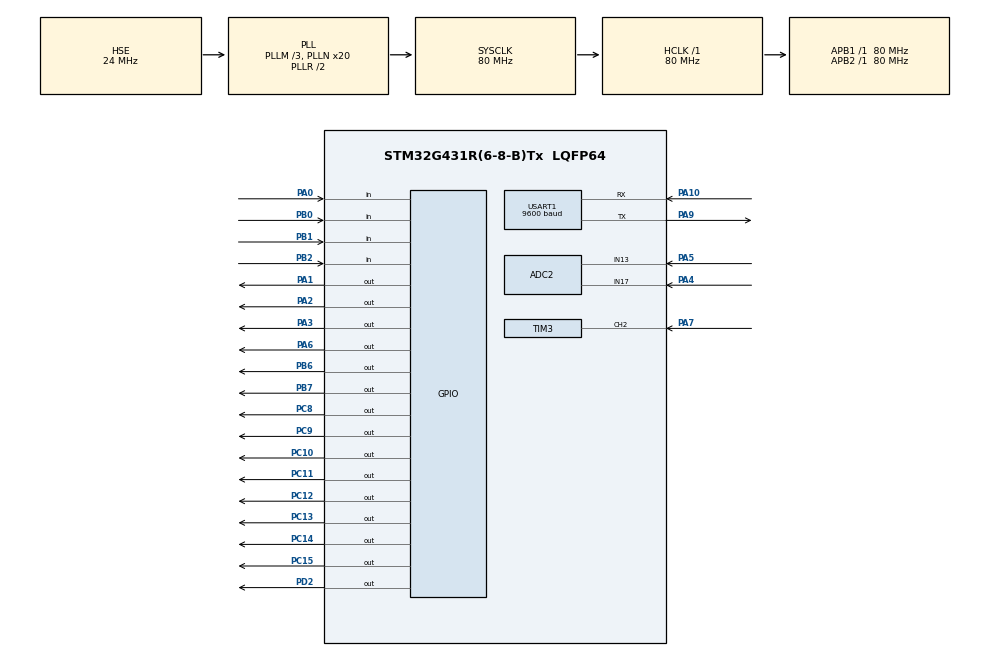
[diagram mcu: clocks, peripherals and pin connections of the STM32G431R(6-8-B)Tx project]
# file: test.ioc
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ADC2.Channel-0\#ChannelRegularConversion=ADC_CHANNEL_13
ADC2.Channel-3\#ChannelRegularConversion=ADC_CHANNEL_17
ADC2.NbrOfConversion=2
ADC2.NbrOfConversionFlag=1
ADC2.OffsetNumber-0\#ChannelRegularConversion=ADC_OFFSET_NONE
ADC2.OffsetNumber-3\#ChannelRegularConversion=ADC_OFFSET_NONE
ADC2.Rank-0\#ChannelRegularConversion=1
ADC2.Rank-3\#ChannelRegularConversion=2
ADC2.SamplingTime-0\#ChannelRegularConversion=ADC_SAMPLETIME_640CYCLES_5
ADC2.SamplingTime-3\#ChannelRegularConversion=ADC_SAMPLETIME_640CYCLES_5
Mcu.Family=STM32G4
Mcu.Name=STM32G431R(6-8-B)Tx
Mcu.Package=LQFP64
NVIC.PriorityGroup=NVIC_PRIORITYGROUP_4
NVIC.TIM1_BRK_TIM15_IRQn=true\:0\:0\:false\:false\:true\:true\:true
NVIC.TIM1_TRG_COM_TIM17_IRQn=true\:0\:0\:false\:false\:true\:true\:true
NVIC.TIM1_UP_TIM16_IRQn=true\:0\:0\:false\:false\:true\:true\:true
NVIC.TIM3_IRQn=true\:0\:0\:false\:false\:true\:true\:true
NVIC.TIM4_IRQn=true\:0\:0\:false\:false\:true\:true\:true
NVIC.USART1_IRQn=true\:0\:0\:false\:false\:true\:true\:true
PA0.GPIO_PuPd=GPIO_PULLUP
PA0.Signal=GPIO_Input
PA1.Signal=GPIO_Output
PA10.Mode=Asynchronous
PA10.Signal=USART1_RX
PA13.Mode=Serial_Wire
PA13.Signal=SYS_JTMS-SWDIO
PA14.Mode=Serial_Wire
PA14.Signal=SYS_JTCK-SWCLK
PA2.Signal=GPIO_Output
PA3.Signal=GPIO_Output
PA4.Mode=IN17-Single-Ended
PA4.Signal=ADC2_IN17
PA5.Mode=IN13-Single-Ended
PA5.Signal=ADC2_IN13
PA6.Signal=GPIO_Output
PA7.Signal=S_TIM3_CH2
PA9.Mode=Asynchronous
PA9.Signal=USART1_TX
PB0.GPIO_PuPd=GPIO_PULLUP
PB0.Signal=GPIO_Input
PB1.GPIO_PuPd=GPIO_PULLUP
PB1.Signal=GPIO_Input
PB2.GPIO_PuPd=GPIO_PULLUP
PB2.Signal=GPIO_Input
PB6.Signal=GPIO_Output
PB7.GPIO_Speed=GPIO_SPEED_FREQ_HIGH
PB7.Signal=GPIO_Output
PC10.PinState=GPIO_PIN_SET
PC10.Signal=GPIO_Output
PC11.PinState=GPIO_PIN_SET
PC11.Signal=GPIO_Output
PC12.PinState=GPIO_PIN_SET
PC12.Signal=GPIO_Output
PC13.PinState=GPIO_PIN_SET
PC13.Signal=GPIO_Output
PC14-OSC32_IN.PinState=GPIO_PIN_SET
PC14-OSC32_IN.Signal=GPIO_Output
PC15-OSC32_OUT.PinState=GPIO_PIN_SET
PC15-OSC32_OUT.Signal=GPIO_Output
PC8.PinState=GPIO_PIN_SET
PC8.Signal=GPIO_Output
PC9.PinState=GPIO_PIN_SET
PC9.Signal=GPIO_Output
PD2.Signal=GPIO_Output
PF0-OSC_IN.Mode=HSE-External-Oscillator
PF0-OSC_IN.Signal=RCC_OSC_IN
PF1-OSC_OUT.Mode=HSE-External-Oscillator
PF1-OSC_OUT.Signal=RCC_OSC_OUT
ProjectManager.HeapSize=0x200
ProjectManager.StackSize=0x400
ProjectManager.TargetToolchain=MDK-ARM V5.32
RCC.ADC12Freq_Value=80000000
RCC.AHBFreq_Value=80000000
RCC.APB1Freq_Value=80000000
RCC.APB1TimFreq_Value=80000000
RCC.APB2Freq_Value=80000000
RCC.APB2TimFreq_Value=80000000
RCC.CortexFreq_Value=80000000
RCC.EXTERNAL_CLOCK_VALUE=12288000
RCC.HCLKFreq_Value=80000000
RCC.HSE_VALUE=24000000
RCC.HSI48_VALUE=48000000
RCC.HSI_VALUE=16000000
RCC.LSE_VALUE=32768
RCC.PLLM=RCC_PLLM_DIV3
RCC.PLLN=20
RCC.PLLSourceVirtual=RCC_PLLSOURCE_HSE
RCC.RTCClockSelection=RCC_RTCCLKSOURCE_HSE_DIV32
RCC.SYSCLKFreq_VALUE=80000000
RCC.SYSCLKSource=RCC_SYSCLKSOURCE_PLLCLK
RCC.USBFreq_Value=80000000
RCC.VCOOutputFreq_Value=160000000
RTC.AsynchPrediv=125
RTC.Hours=23
RTC.Minutes=59
RTC.Month=RTC_MONTH_MARCH
RTC.Seconds=55
RTC.SynchPrediv=6000
RTC.WeekDay=RTC_WEEKDAY_FRIDAY
RTC.Year=24
SH.S_TIM3_CH2.0=TIM3_CH2,Input_Capture2_from_TI2
TIM15.Prescaler=80-1
TIM16.PeriodNoDither=65535
TIM16.Prescaler=80-1
TIM17.PeriodNoDither=65535
TIM17.Prescaler=80-1
TIM2.Prescaler=8000-1
TIM3.Channel-Input_Capture2_from_TI2=TIM_CHANNEL_2
TIM3.ICPolarity_CH2=TIM_INPUTCHANNELPOLARITY_BOTHEDGE
TIM3.Prescaler=80-1
TIM4.PeriodNoDither=10000-1
TIM4.Prescaler=80-1
USART1.BaudRate=9600
USART1.VirtualMode-Asynchronous=VM_ASYNC
VP_RTC_VS_RTC_Activate.Mode=RTC_Enabled
VP_RTC_VS_RTC_Calendar.Mode=RTC_Calendar
VP_SYS_VS_DBSignals.Mode=DisableDeadBatterySignals
VP_TIM15_VS_ClockSourceINT.Mode=Internal
VP_TIM16_VS_ClockSourceINT.Mode=Enable_Timer
VP_TIM17_VS_ClockSourceINT.Mode=Enable_Timer
VP_TIM2_VS_ClockSourceINT.Mode=Internal
VP_TIM3_VS_ClockSourceINT.Mode=Internal
VP_TIM4_VS_ClockSourceINT.Mode=Internal
board=custom

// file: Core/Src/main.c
/* USER CODE BEGIN Header */
/**
 ******************************************************************************
 * @file           : main.c
 * @brief          : Main program body
 ******************************************************************************
 * @attention
 *
 * Copyright (c) 2024 STMicroelectronics.
 * All rights reserved.
 *
 * This software is licensed under terms that can be found in the LICENSE file
 * in the root directory of this software component.
 * If no LICENSE file comes with this software, it is provided AS-IS.
 *
 ******************************************************************************
 */
/* USER CODE END Header */
#include "main.h"
#include "adc.h"
#include "rtc.h"
#include "tim.h"
#include "usart.h"
#include "gpio.h"

/* USER CODE BEGIN Includes */
#include "LED.h"
#include "lcd.h"
#include "stdio.h"
#include "string.h"
#include "Key.h"
#include "interrupt.h"
#include "badc.h"
#include "i2c - hal.h"
#include "PWM.h"
#include "seg_LED.h"
#include "adc_key.h"
#include "ds18b20.h"
#include "dht11.h"
/* USER CODE END Includes */

/* USER CODE BEGIN PTD */

/*执行速度控制变量*/
__IO uint32_t uwTick_LED_Speed_Ctrl;
__IO uint32_t uwTick_KEY_Speed_Ctrl;
__IO uint32_t uwTick_LCD_Speed_Ctrl;
__IO uint32_t uwTick_RTC_Speed_Ctrl;
__IO uint32_t uwTick_Time_Count;

/* USER CODE END PTD */

/* USER CODE BEGIN PD */
/*全局变量区*/
uint8_t ucLED;

uint8_t LCD_String_Disp[21]; // 显示屏显示数据存储数组
uint8_t LCD_Disp_Change = 0; // 显示屏切换界面变量
uint8_t LCD_Line_Change = 0; // 显示屏选择行 1-第一行 2-第二行 3-第三行 默认为0不选择 无高亮文本

uint8_t PA6_duty = 10, PA7_duty = 10;
uint16_t PA6_Frq = 100, PA7_Frq = 200;

uint8_t EEPROM_Save[6] = {5, 3, 5, 5, 6}; // EEPROM芯片中存取的数据
uint8_t EEPROM_Disp[4] = {10, 10};        // EEPROM数据显示数组

uint8_t segBuff[3];    // Seg数码管显示数组
uint8_t seg_disp_flag; // 2s切换显示标志位

ADC2_ChannelValues adcValues; // ADC多通道扫描数值结构体

int Ds_Temp_for_seg; // 数码管显示ds18b20温度值  整形
float DS_Temp;       // ds18b20温度值
uint8_t T_Value = 30;
uint8_t T_Value_old = 30;

uint8_t Channel_Num = 1;
uint8_t Channel_Num_old = 1;

uint16_t Record_Num; // 记录次数

float AO1_Value, AO2_Value; // RP5 ADC值   RP6 ADC值

uint8_t PWM2_duty_Value; // 占空比

uint8_t Auto_upload_flag; // 自动上报标志位

uint8_t LED8_flag;

// 用于存储时间和日期的结构体
RTC_TimeTypeDef RTC_Time = {0};
RTC_DateTypeDef RTC_Date = {0};
char dateTimeBuffer[50]; // 存储日期时间字符串

/*拓展变量区*/
extern uint8_t single_key_flag[4]; // 按键单击
extern uint8_t double_key_flag[4]; // 按键双击
extern uint8_t long_key_flag[4];   // 按键长按
extern uint16_t key_time[4];
// extern uint16_t frq1, frq2;        // 输入捕获测量的频率
// extern float duty1, duty2;         // 占空比
extern uint32_t RP[4];

extern char rxdata[30]; // 串口接收数组
extern uint8_t rxdat;
extern unsigned char rx_pointer;

/* USER CODE END PD */

/* USER CODE BEGIN PM */

/*子函数声明区*/

void LCD_Proc(void);
void KEY_Proc(void);
void LED_Proc(void);
void RTC_Proc(void);
void ADC_Proc(void);
void USART_Proc(void);
void USART_TR_Proc(void);

/* USER CODE END PM */

void SystemClock_Config(void);

int main(void)
{

  /* MCU Configuration--------------------------------------------------------*/

  /* Reset of all peripherals, Initializes the Flash interface and the Systick. */
  HAL_Init();

  /* Configure the system clock */
  SystemClock_Config();

  /* Initialize all configured peripherals */
  MX_GPIO_Init();
  MX_TIM16_Init();
  MX_TIM17_Init();
  MX_TIM3_Init();
  MX_TIM4_Init();
  MX_ADC2_Init();
  MX_USART1_UART_Init();
  MX_RTC_Init();
  MX_TIM15_Init();
  MX_TIM2_Init();
  /* USER CODE BEGIN 2 */

  /*LED灯初始化*/
  LED_Init();

  /*LCD显示屏初始化*/
  LCD_Init();
  LCD_Clear(Black);
  LCD_SetBackColor(Black);
  LCD_SetTextColor(White);

  /*定时器4基本中断开启,按键中断定时器 时间到就进中断检测按键是否按下*/
  HAL_TIM_Base_Start_IT(&htim4);

  /*定时器3通道2 输入捕获中断开启,PA7引脚*/
  HAL_TIM_IC_Start_IT(&htim3, TIM_CHANNEL_2);

  // HAL_ADCEx_Calibration_Start(&hadc1, ADC_SINGLE_ENDED); // 校准ADC1，PB12引脚
  HAL_ADCEx_Calibration_Start(&hadc2, ADC_SINGLE_ENDED); // 校准ADC2

  /********************************串口接收中断开启***********************************************************/
  HAL_UART_Receive_IT(&huart1, &rxdat, 1);

  /********************************EEPROM存储读取***********************************************************/
  I2C_24c02_Read((uint8_t *)&EEPROM_Save[5], 0x37, 1); // 读取一次判断是否第一次上电

  if (EEPROM_Save[5] != 4) // 初次上电 占空比为10，10
  {
    EEPROM_Save[5] = 4; // 将该位的值改为9写入eeprom中 用于判断非第一次上电 确保再次上电读取eeprom中设置的阈值 以免第一次直接赋值0
    I2C_24c02_Write((uint8_t *)&EEPROM_Save[5], 0x37, 1);
    HAL_Delay(10);
    I2C_24c02_Write((uint8_t *)EEPROM_Save, 0x00, 5); // 将阈值写入EEPROM中
    HAL_Delay(10);
  }
  else // 再次上电读取eeprom中设置的阈值 更新显示的阈
  {
    I2C_24c02_Read((uint8_t *)EEPROM_Save, 0x00, 5); // 读取EEPROM中的值
    HAL_Delay(10);
    Record_Num = EEPROM_Save[0] + EEPROM_Save[1] * 10 + EEPROM_Save[2] * 100 + EEPROM_Save[3] * 1000 + EEPROM_Save[4] * 10000;
  }
  /********************************EEPROM存储读取***********************************************************/
  ds18b20Read();
  DS_Temp = ds18b20Read();

  /* USER CODE END 2 */

  /* Infinite loop */
  while (1)
  {

    /* USER CODE BEGIN 3 */
    /*代码写在该行下面 否则会被初始化*/

    LCD_Proc();
    KEY_Proc();
    LED_Proc();
    RTC_Proc();
    ADC_Proc();
    USART_TR_Proc();

    if (rx_pointer != 0)
    {
      int temp = rx_pointer;
      HAL_Delay(1);
      if (temp == rx_pointer)
        USART_Proc(); // 完成接收
    }
  }
  /* USER CODE END 3 */
}

void SystemClock_Config(void)
{
  RCC_OscInitTypeDef RCC_OscInitStruct = {0};
  RCC_ClkInitTypeDef RCC_ClkInitStruct = {0};

  /** Configure the main internal regulator output voltage
   */
  HAL_PWREx_ControlVoltageScaling(PWR_REGULATOR_VOLTAGE_SCALE1);
  /** Initializes the RCC Oscillators according to the specified parameters
   * in the RCC_OscInitTypeDef structure.
   */
  RCC_OscInitStruct.OscillatorType = RCC_OSCILLATORTYPE_HSE;
  RCC_OscInitStruct.HSEState = RCC_HSE_ON;
  RCC_OscInitStruct.PLL.PLLState = RCC_PLL_ON;
  RCC_OscInitStruct.PLL.PLLSource = RCC_PLLSOURCE_HSE;
  RCC_OscInitStruct.PLL.PLLM = RCC_PLLM_DIV3;
  RCC_OscInitStruct.PLL.PLLN = 20;
  RCC_OscInitStruct.PLL.PLLP = RCC_PLLP_DIV2;
  RCC_OscInitStruct.PLL.PLLQ = RCC_PLLQ_DIV2;
  RCC_OscInitStruct.PLL.PLLR = RCC_PLLR_DIV2;
  if (HAL_RCC_OscConfig(&RCC_OscInitStruct) != HAL_OK)
  {
    Error_Handler();
  }
  /** Initializes the CPU, AHB and APB buses clocks
   */
  RCC_ClkInitStruct.ClockType = RCC_CLOCKTYPE_HCLK | RCC_CLOCKTYPE_SYSCLK | RCC_CLOCKTYPE_PCLK1 | RCC_CLOCKTYPE_PCLK2;
  RCC_ClkInitStruct.SYSCLKSource = RCC_SYSCLKSOURCE_PLLCLK;
  RCC_ClkInitStruct.AHBCLKDivider = RCC_SYSCLK_DIV1;
  RCC_ClkInitStruct.APB1CLKDivider = RCC_HCLK_DIV1;
  RCC_ClkInitStruct.APB2CLKDivider = RCC_HCLK_DIV1;

  if (HAL_RCC_ClockConfig(&RCC_ClkInitStruct, FLASH_LATENCY_2) != HAL_OK)
  {
    Error_Handler();
  }
}

/* USER CODE BEGIN 4 */

/*****************************************LED灯控制函数***************************************************/
void LED_Proc(void)
{
  if ((uwTick - uwTick_LED_Speed_Ctrl) < 200)
    return;
  uwTick_LED_Speed_Ctrl = uwTick; // 200ms执行一次

  // ucLED ^= 0x01;  //异或运算 相同为0，不同为1

  if (Auto_upload_flag)
    ucLED |= 0x01;
  else
    ucLED &= 0x80;

  if (LED8_flag == 1)
    ucLED |= 0x80;
  else
    ucLED &= 0x01;

  LED_Disp(ucLED);
}

/*****************************************显示屏控制函数***************************************************/
void LCD_Proc(void)
{
  if ((uwTick - uwTick_LCD_Speed_Ctrl) < 100)
    return;
  uwTick_LCD_Speed_Ctrl = uwTick;

  AO1_Value = Return_3_3(adcValues.AdcChannel17Value);
  AO2_Value = Return_3_3(adcValues.AdcChannel13Value);
  PWM2_duty_Value = RP[1];

  if (seg_disp_flag)
  {
    segBuff[1] = T_Value / 10 % 10;
    segBuff[2] = T_Value % 10;
    SEG_Display(12, segBuff[1], segBuff[2], 0, 0, 0);
  }
  else
  {
    SEG_Display(10, 0, Channel_Num, 0, 0, 0);
  }

  if (Channel_Num == 1)
  {
    if (AO1_Value > (PWM2_duty_Value * 3.3f) / 100.0f)
    {
      Auto_upload_flag = 1;
    }
    else
      Auto_upload_flag = 0;
  }
  else if (Channel_Num == 2)
  {
    if (AO2_Value > PWM2_duty_Value * 3.3f / 100.0f)
    {
      Auto_upload_flag = 1;
    }
    else
      Auto_upload_flag = 0;
  }

  if (DS_Temp > T_Value)
    LED8_flag = 1;
  else
    LED8_flag = 0;

  if (LCD_Disp_Change == 0)
  {
    LCD_SetTextColor(White); // 初始文本颜色 防止受上一个对文本颜色的改变影响

    memset(LCD_String_Disp, 0, sizeof(LCD_String_Disp));
    sprintf((char *)LCD_String_Disp, "Main  ");
    LCD_DisplayStringAtLineColumn(Line1, Col9, LCD_String_Disp);

    memset(LCD_String_Disp, 0, sizeof(LCD_String_Disp));
    sprintf((char *)LCD_String_Disp, "AO1:%.2fV  ", AO1_Value);
    LCD_DisplayStringAtLineColumn(Line3, Col3, LCD_String_Disp);

    memset(LCD_String_Disp, 0, sizeof(LCD_String_Disp));
    sprintf((char *)LCD_String_Disp, "AO2:%.2fV  ", AO2_Value);
    LCD_DisplayStringAtLineColumn(Line4, Col3, LCD_String_Disp);

    memset(LCD_String_Disp, 0, sizeof(LCD_String_Disp));
    sprintf((char *)LCD_String_Disp, "PWM2:%d%%  ", PWM2_duty_Value);
    LCD_DisplayStringAtLineColumn(Line5, Col3, LCD_String_Disp);

    memset(LCD_String_Disp, 0, sizeof(LCD_String_Disp));
    sprintf((char *)LCD_String_Disp, "Temp:%.2fC  ", DS_Temp);
    LCD_DisplayStringAtLineColumn(Line6, Col3, LCD_String_Disp);

    memset(LCD_String_Disp, 0, sizeof(LCD_String_Disp));
    sprintf((char *)LCD_String_Disp, "N:%d  ", Record_Num);
    LCD_DisplayStringAtLineColumn(Line7, Col3, LCD_String_Disp);
  }
  else
  {
    LCD_SetTextColor(White); // 初始文本颜色 防止受上一个对文本颜色的改变影响

    memset(LCD_String_Disp, 0, sizeof(LCD_String_Disp));
    sprintf((char *)LCD_String_Disp, "Para  ");
    LCD_DisplayStringAtLineColumn(Line1, Col9, LCD_String_Disp);

    memset(LCD_String_Disp, 0, sizeof(LCD_String_Disp));
    sprintf((char *)LCD_String_Disp, "T: %d  ", T_Value);
    if (LCD_Line_Change == 1)
      LCD_SetTextColor(Green);
    else
      LCD_SetTextColor(White);
    LCD_DisplayStringAtLineColumn(Line3, Col3, LCD_String_Disp);

    memset(LCD_String_Disp, 0, sizeof(LCD_String_Disp));
    sprintf((char *)LCD_String_Disp, "X: A0%d  ", Channel_Num);
    if (LCD_Line_Change == 2)
      LCD_SetTextColor(Green);
    else
      LCD_SetTextColor(White);
    LCD_DisplayStringAtLineColumn(Line4, Col3, LCD_String_Disp);
  }
}

/*****************************************按键控制函数***************************************************/

void KEY_Proc(void)
{
  if ((uwTick - uwTick_KEY_Speed_Ctrl) < 50)
    return;
  uwTick_KEY_Speed_Ctrl = uwTick; // 50ms执行一次

  if (single_key_flag[0] == 1) // 按键1单击刷新显示屏
  {
    LCD_Disp_Change ^= 1; // 0-数据界面 1-参数界面
    // 检测参数是否发生变化，存入EEPROM
    if (LCD_Disp_Change == 0) // 返回主界面时保存设置的值
    {
      if (T_Value_old != T_Value || Channel_Num_old != Channel_Num)
      {
        Record_Num++;
        T_Value_old = T_Value;
        Channel_Num_old = Channel_Num;
        EEPROM_Save[4] = Record_Num / 10000;
        EEPROM_Save[3] = Record_Num / 1000 % 10;
        EEPROM_Save[2] = Record_Num / 100 % 10;
        EEPROM_Save[1] = Record_Num / 10 % 10;
        EEPROM_Save[0] = Record_Num % 10;
        I2C_24c02_Write((uint8_t *)EEPROM_Save, 0x00, 5); // 将变化次数写入EEPROM中
      }
      LCD_Line_Change = 0;
    }
    LCD_Clear(Black);
    single_key_flag[0] = 0;
  }

  if (single_key_flag[1] == 1) // 按键2单击
  {
    if (LCD_Disp_Change) // 参数界面 选择高亮
    {
      LCD_Line_Change++; // 选择高亮显示行
      if (LCD_Line_Change == 3)
      {
        LCD_Line_Change = 1;
      }
    }
    single_key_flag[1] = 0;
  }

  if (single_key_flag[2] == 1) // 按键3单击
  {
    if (LCD_Disp_Change) // 参数界面
    {
      if (LCD_Line_Change == 1) // 设定第一行
      {
        // 温度参数加1 范围20-40
        T_Value++;
        if (T_Value > 40)
          T_Value = 20;
      }
      else if (LCD_Line_Change == 2) // 设定第二行
      {
        // 切换通道 AO1 或者 AO2
        Channel_Num += 1;
        if (Channel_Num > 2)
          Channel_Num = 1;
      }
    }
    single_key_flag[2] = 0;
  }

  if (single_key_flag[3] == 1) // 按键4单击
  {
    if (LCD_Disp_Change) // 参数界面
    {
      if (LCD_Line_Change == 1) // 设定第一行
      {
        // 温度参数减1  范围20-40
        T_Value--;
        if (T_Value < 20)
          T_Value = 40;
      }
      else if (LCD_Line_Change == 2) // 设定第二行
      {
        // 切换通道 AO1 或者 AO2
        Channel_Num += 1;
        if (Channel_Num > 2)
          Channel_Num = 1;
      }
    }
    single_key_flag[3] = 0;
  }

  if (HAL_GPIO_ReadPin(GPIOB, GPIO_PIN_2) == 0 && key_time[2] > 50) // 按键3长按
  {
    if (LCD_Disp_Change) // 参数界面
    {
      // 温度参数快速递增  范围20-40
      T_Value++;
      if (T_Value > 40)
        T_Value = 20;
    }
    long_key_flag[2] = 0;
  }

  if (HAL_GPIO_ReadPin(GPIOA, GPIO_PIN_0) == 0 && key_time[3] > 50) // 按键4长按
  {
    if (LCD_Disp_Change) // 参数界面
    {
      // 温度参数快速递减  范围20-40
      T_Value--;
      if (T_Value < 20)
        T_Value = 40;
    }
    long_key_flag[3] = 0;
  }
}

/*****************************************ADC处理函数***************************************************/

void ADC_Proc(void)
{
  adcValues = Read_ADC2_Channels();
}

/*****************************************串口接收函数***************************************************/

void USART_Proc(void)
{

  if (rx_pointer > 0)
  {
    if (rx_pointer == 4)
    {
      if (rxdata[0] == 'S' && rxdata[1] == 'T' && rxdata[2] == '\r' && rxdata[3] == '\n')
      {
        printf("$%.2f\r\n", DS_Temp);
      }
    }

    if (rx_pointer == 6)
    {
      if (rxdata[0] == 'P' && rxdata[1] == 'A' && rxdata[2] == 'R' && rxdata[3] == 'A' && rxdata[4] == '\r' && rxdata[5] == '\n')
      {
        printf("#%d,A0%d\r\n", T_Value, Channel_Num);
      }
    }

    rx_pointer = 0;
    memset(rxdata, 0, 30);
  }
}

void USART_TR_Proc(void)
{

  if ((uwTick - uwTick_Time_Count) < 1000)
    return;
  uwTick_Time_Count = uwTick; // 1000ms执行一次

  DS_Temp = ds18b20Read();

  if (Channel_Num == 1)
  {
    if (Auto_upload_flag)
    {
      printf("$%.2f\r\n", DS_Temp);
    }
  }
  else if (Channel_Num == 2)
  {
    if (Auto_upload_flag)
    {
      printf("$%.2f\r\n", DS_Temp);
    }
  }
}

/*RTC时钟配置*/

void RTC_Proc(void)
{
  if ((uwTick - uwTick_RTC_Speed_Ctrl) < 2000)
    return;
  uwTick_RTC_Speed_Ctrl = uwTick; // 1s执行一次

  // // 获取当前时间和日期
  // HAL_RTC_GetTime(&hrtc, &RTC_Time, RTC_FORMAT_BIN);
  // HAL_RTC_GetDate(&hrtc, &RTC_Date, RTC_FORMAT_BIN);

  // printf("Date: %02d-%02d-%02d Time: %02d:%02d:%02d\r\n", RTC_Date.Year, RTC_Date.Month, RTC_Date.Date,
  //        RTC_Time.Hours, RTC_Time.Minutes, RTC_Time.Seconds);

  seg_disp_flag ^= 0x01;
}

/*串口重定向*/
int fputc(int ch, FILE *f)
{
  char c = ch;
  HAL_UART_Transmit(&huart1, (uint8_t *)&c, 1, 50);
  return ch;
}

/* USER CODE END 4 */

void Error_Handler(void)
{
  __disable_irq();
  while (1)
  {
  }
}
